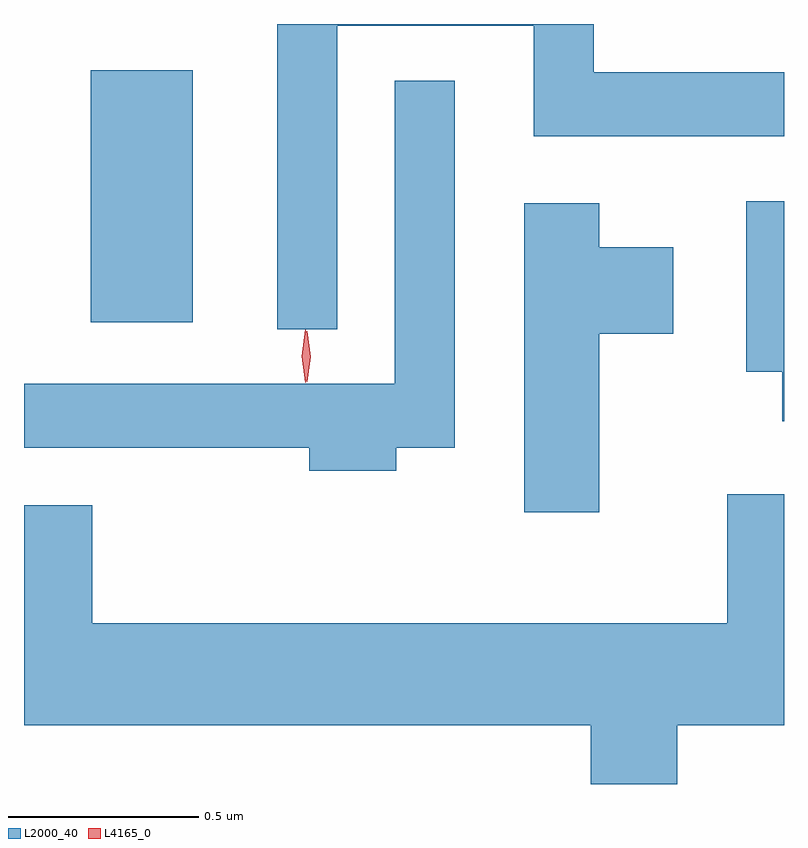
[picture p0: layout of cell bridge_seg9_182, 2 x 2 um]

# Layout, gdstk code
import gdstk
lib = gdstk.Library(unit=1e-6, precision=1e-09)
def R(c, l, rs):  # rectangles x0, y0, x1, y1
    for r in rs: c.add(gdstk.rectangle(r[:2], r[2:], *l))
def P(c, l, *ps):  # polygons
    for p in ps: c.add(gdstk.Polygon(p, *l))
L2000_40 = (2000, 40)
L4165_0 = (4165, 0)

bridge_seg9_182 = lib.new_cell('bridge_seg9_182')
R(bridge_seg9_182, L2000_40, [(1408.146,2068.356,1408.414,2069.019)])
P(bridge_seg9_182, L2000_40, [(1408.794,2069.136),(1409.311,2069.136),(1409.311,2068.846),(1409.97,2068.846),(1409.97,2069.014),(1409.469,2069.014),(1409.469,2069.141),(1408.636,2069.141),(1408.636,2068.338),(1408.794,2068.338)],
  [(1408.949,2068.026),(1409.104,2068.026),(1409.104,2068.992),(1408.946,2068.992),(1408.946,2068.194),(1407.97,2068.194),(1407.97,2068.026),(1408.721,2068.026),(1408.721,2067.966),(1408.949,2067.966)],
  [(1409.97,2068.674),(1409.871,2068.674),(1409.871,2068.226),(1409.966,2068.226),(1409.966,2068.096),(1409.97,2068.096)],
  [(1409.484,2068.326),(1409.679,2068.326),(1409.679,2068.554),(1409.484,2068.554),(1409.484,2068.669),(1409.286,2068.669),(1409.286,2067.856),(1409.484,2067.856)],
  [(1409.689,2067.296),(1409.97,2067.296),(1409.97,2067.904),(1409.821,2067.904),(1409.821,2067.564),(1408.149,2067.564),(1408.149,2067.874),(1407.97,2067.874),(1407.97,2067.296),(1409.461,2067.296),(1409.461,2067.141),(1409.689,2067.141)])
P(bridge_seg9_182, L4165_0, [(1408.711,2068.197),(1408.71,2068.198),(1408.701,2068.267),(1408.71,2068.336),(1408.711,2068.336),(1408.712,2068.336),(1408.721,2068.267),(1408.712,2068.198)],
  [(1408.715,2068.199),(1408.714,2068.2),(1408.705,2068.266),(1408.714,2068.332),(1408.715,2068.333),(1408.715,2068.332),(1408.725,2068.266),(1408.715,2068.2)])

lib.write_gds('bridge_seg9_182.gds')
